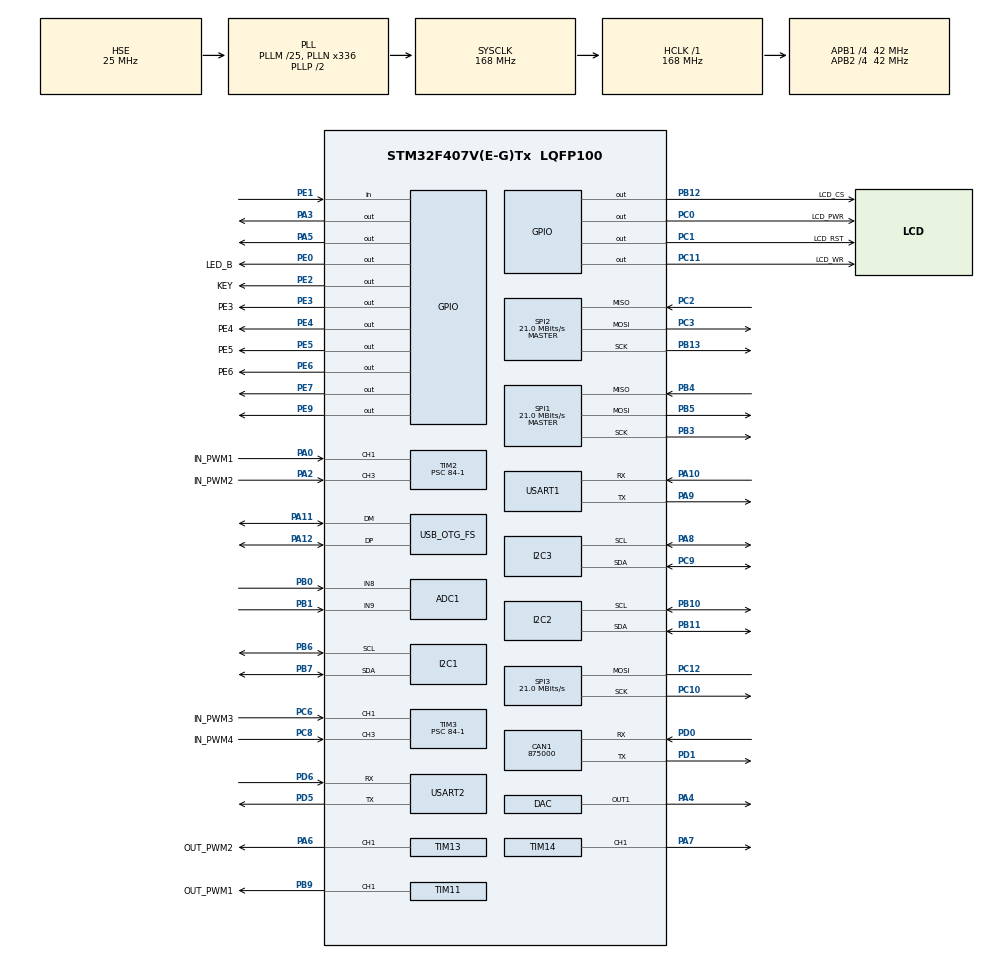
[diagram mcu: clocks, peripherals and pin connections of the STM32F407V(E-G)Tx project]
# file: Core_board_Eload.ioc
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ADC1.Channel-0\#ChannelRegularConversion=ADC_CHANNEL_8
ADC1.Channel-1\#ChannelRegularConversion=ADC_CHANNEL_9
ADC1.ClockPrescaler=ADC_CLOCK_SYNC_PCLK_DIV4
ADC1.ContinuousConvMode=ENABLE
ADC1.DMAContinuousRequests=ENABLE
ADC1.NbrOfConversion=2
ADC1.NbrOfConversionFlag=1
ADC1.Rank-0\#ChannelRegularConversion=1
ADC1.Rank-1\#ChannelRegularConversion=2
ADC1.SamplingTime-0\#ChannelRegularConversion=ADC_SAMPLETIME_56CYCLES
ADC1.SamplingTime-1\#ChannelRegularConversion=ADC_SAMPLETIME_56CYCLES
ADC1.ScanConvMode=ENABLE
ADC1.master=1
CAN1.CalculateBaudRate=875000
CAN1.CalculateTimeBit=1142
CAN1.CalculateTimeQuantum=380.95238095238096
DAC.DAC_Trigger=DAC_TRIGGER_T6_TRGO
DAC.WaveGeneration=DISABLE
Dma.ADC1.0.Direction=DMA_PERIPH_TO_MEMORY
Dma.ADC1.0.FIFOMode=DMA_FIFOMODE_DISABLE
Dma.ADC1.0.Instance=DMA2_Stream0
Dma.ADC1.0.MemDataAlignment=DMA_MDATAALIGN_HALFWORD
Dma.ADC1.0.MemInc=DMA_MINC_ENABLE
Dma.ADC1.0.Mode=DMA_CIRCULAR
Dma.ADC1.0.PeriphDataAlignment=DMA_PDATAALIGN_HALFWORD
Dma.ADC1.0.PeriphInc=DMA_PINC_DISABLE
Dma.ADC1.0.Priority=DMA_PRIORITY_LOW
Dma.DAC1.1.Direction=DMA_MEMORY_TO_PERIPH
Dma.DAC1.1.FIFOMode=DMA_FIFOMODE_DISABLE
Dma.DAC1.1.Instance=DMA1_Stream5
Dma.DAC1.1.MemDataAlignment=DMA_MDATAALIGN_HALFWORD
Dma.DAC1.1.MemInc=DMA_MINC_ENABLE
Dma.DAC1.1.Mode=DMA_CIRCULAR
Dma.DAC1.1.PeriphDataAlignment=DMA_PDATAALIGN_HALFWORD
Dma.DAC1.1.PeriphInc=DMA_PINC_DISABLE
Dma.DAC1.1.Priority=DMA_PRIORITY_LOW
Dma.Request0=ADC1
Dma.Request1=DAC1
Dma.Request2=USART1_RX
Dma.USART1_RX.2.Direction=DMA_PERIPH_TO_MEMORY
Dma.USART1_RX.2.FIFOMode=DMA_FIFOMODE_DISABLE
Dma.USART1_RX.2.Instance=DMA2_Stream2
Dma.USART1_RX.2.MemDataAlignment=DMA_MDATAALIGN_BYTE
Dma.USART1_RX.2.MemInc=DMA_MINC_ENABLE
Dma.USART1_RX.2.Mode=DMA_NORMAL
Dma.USART1_RX.2.PeriphDataAlignment=DMA_PDATAALIGN_BYTE
Dma.USART1_RX.2.PeriphInc=DMA_PINC_DISABLE
Dma.USART1_RX.2.Priority=DMA_PRIORITY_LOW
FREERTOS.Tasks01=OLED,0,512,StartDefaultTask,Default,NULL,Dynamic,NULL,NULL;LED,0,512,LED2_Task,Default,NULL,Dynamic,NULL,NULL;Action,0,1024,Action_Task,Default,NULL,Dynamic,NULL,NULL;Aging,0,1024,Aging_Task,Default,NULL,Dynamic,NULL,NULL;Time,-3,512,Time_Task,Default,NULL,Dynamic,NULL,NULL
FREERTOS.configMINIMAL_STACK_SIZE=128
FREERTOS.configQUEUE_REGISTRY_SIZE=0
Mcu.Family=STM32F4
Mcu.Name=STM32F407V(E-G)Tx
Mcu.Package=LQFP100
NVIC.ADC_IRQn=true\:5\:0\:false\:false\:true\:true\:true\:true\:true
NVIC.CAN1_RX0_IRQn=true\:5\:0\:false\:false\:true\:true\:true\:true\:true
NVIC.CAN1_RX1_IRQn=true\:5\:0\:false\:false\:true\:true\:true\:true\:true
NVIC.CAN1_SCE_IRQn=true\:5\:0\:false\:false\:true\:true\:true\:true\:true
NVIC.CAN1_TX_IRQn=true\:5\:0\:false\:false\:true\:true\:true\:true\:true
NVIC.DMA1_Stream5_IRQn=true\:5\:0\:false\:false\:true\:true\:false\:true\:true
NVIC.DMA2_Stream0_IRQn=true\:5\:0\:false\:false\:true\:true\:false\:true\:true
NVIC.DMA2_Stream2_IRQn=true\:5\:0\:false\:false\:true\:true\:false\:true\:true
NVIC.PriorityGroup=NVIC_PRIORITYGROUP_4
NVIC.TIM1_UP_TIM10_IRQn=true\:15\:0\:false\:false\:true\:false\:false\:true\:true
NVIC.TIM2_IRQn=true\:5\:0\:false\:false\:true\:true\:true\:true\:true
NVIC.TIM3_IRQn=true\:5\:0\:false\:false\:true\:true\:true\:true\:true
NVIC.TimeBase=TIM1_UP_TIM10_IRQn
NVIC.TimeBaseIP=TIM1
NVIC.USART1_IRQn=true\:5\:0\:false\:false\:true\:true\:true\:true\:true
NVIC.USART2_IRQn=true\:5\:0\:false\:false\:true\:true\:true\:true\:true
PA0-WKUP.GPIO_Label=IN_PWM1
PA0-WKUP.Signal=S_TIM2_CH1_ETR
PA10.Mode=Asynchronous
PA10.Signal=USART1_RX
PA11.Mode=Host_Only
PA11.Signal=USB_OTG_FS_DM
PA12.Mode=Host_Only
PA12.Signal=USB_OTG_FS_DP
PA13.Mode=Serial_Wire
PA13.Signal=SYS_JTMS-SWDIO
PA14.Mode=Serial_Wire
PA14.Signal=SYS_JTCK-SWCLK
PA2.GPIO_Label=IN_PWM2
PA2.GPIO_Speed=GPIO_SPEED_FREQ_LOW
PA2.Signal=S_TIM2_CH3
PA3.Signal=GPIO_Output
PA4.Signal=COMP_DAC1_group
PA5.Signal=GPIO_Output
PA6.GPIO_Label=OUT_PWM2
PA6.Signal=S_TIM13_CH1
PA7.Signal=S_TIM14_CH1
PA8.Mode=I2C
PA8.Signal=I2C3_SCL
PA9.Mode=Asynchronous
PA9.Signal=USART1_TX
PB0.Signal=ADCx_IN8
PB1.Signal=ADCx_IN9
PB10.Mode=I2C
PB10.Signal=I2C2_SCL
PB11.Mode=I2C
PB11.Signal=I2C2_SDA
PB12.GPIO_Label=LCD_CS
PB12.Signal=GPIO_Output
PB13.Mode=Full_Duplex_Master
PB13.Signal=SPI2_SCK
PB3.Mode=Full_Duplex_Master
PB3.Signal=SPI1_SCK
PB4.Mode=Full_Duplex_Master
PB4.Signal=SPI1_MISO
PB5.Mode=Full_Duplex_Master
PB5.Signal=SPI1_MOSI
PB6.Mode=I2C
PB6.Signal=I2C1_SCL
PB7.Mode=I2C
PB7.Signal=I2C1_SDA
PB9.GPIO_Label=OUT_PWM1
PB9.Signal=S_TIM11_CH1
PC0.GPIO_Label=LCD_PWR
PC0.GPIO_Speed=GPIO_SPEED_FREQ_HIGH
PC0.Signal=GPIO_Output
PC1.GPIO_Label=LCD_RST
PC1.GPIO_Speed=GPIO_SPEED_FREQ_HIGH
PC1.Signal=GPIO_Output
PC10.Mode=Simplex_Bidirectional_Master
PC10.Signal=SPI3_SCK
PC11.GPIO_Label=LCD_WR
PC11.GPIO_Speed=GPIO_SPEED_FREQ_HIGH
PC11.Signal=GPIO_Output
PC12.Mode=Simplex_Bidirectional_Master
PC12.Signal=SPI3_MOSI
PC14-OSC32_IN.Mode=LSE-External-Oscillator
PC14-OSC32_IN.Signal=RCC_OSC32_IN
PC15-OSC32_OUT.Mode=LSE-External-Oscillator
PC15-OSC32_OUT.Signal=RCC_OSC32_OUT
PC2.Mode=Full_Duplex_Master
PC2.Signal=SPI2_MISO
PC3.Mode=Full_Duplex_Master
PC3.Signal=SPI2_MOSI
PC6.GPIO_Label=IN_PWM3
PC6.Signal=S_TIM3_CH1
PC8.GPIO_Label=IN_PWM4
PC8.Signal=S_TIM3_CH3
PC9.Mode=I2C
PC9.Signal=I2C3_SDA
PD0.Mode=CAN_Activate
PD0.Signal=CAN1_RX
PD1.Mode=CAN_Activate
PD1.Signal=CAN1_TX
PD5.Mode=Asynchronous
PD5.Signal=USART2_TX
PD6.Mode=Asynchronous
PD6.Signal=USART2_RX
PE0.GPIO_Label=LED_B
PE0.Signal=GPIO_Output
PE1.Signal=GPIO_Input
PE2.GPIO_Label=KEY
PE2.Signal=GPIO_Output
PE3.GPIO_Label=PE3
PE3.Signal=GPIO_Output
PE4.GPIO_Label=PE4
PE4.Signal=GPIO_Output
PE5.GPIO_Label=PE5
PE5.Signal=GPIO_Output
PE6.GPIO_Label=PE6
PE6.Signal=GPIO_Output
PE7.Signal=GPIO_Output
PE9.Signal=GPIO_Output
PH0-OSC_IN.Mode=HSE-External-Oscillator
PH0-OSC_IN.Signal=RCC_OSC_IN
PH1-OSC_OUT.Mode=HSE-External-Oscillator
PH1-OSC_OUT.Signal=RCC_OSC_OUT
ProjectManager.HeapSize=0x200
ProjectManager.StackSize=0x400
ProjectManager.TargetToolchain=Makefile
RCC.48MHZClocksFreq_Value=48000000
RCC.AHBFreq_Value=168000000
RCC.APB1CLKDivider=RCC_HCLK_DIV4
RCC.APB1Freq_Value=42000000
RCC.APB1TimFreq_Value=84000000
RCC.APB2CLKDivider=RCC_HCLK_DIV4
RCC.APB2Freq_Value=42000000
RCC.APB2TimFreq_Value=84000000
RCC.CortexFreq_Value=168000000
RCC.HCLKFreq_Value=168000000
RCC.HSE_VALUE=25000000
RCC.HSI_VALUE=16000000
RCC.PLLM=25
RCC.PLLN=336
RCC.PLLQ=7
RCC.RCC_RTC_Clock_Source=RCC_RTCCLKSOURCE_LSE
RCC.RCC_RTC_Clock_SourceVirtual=RCC_RTCCLKSOURCE_LSE
RCC.SYSCLKFreq_VALUE=168000000
RCC.SYSCLKSource=RCC_SYSCLKSOURCE_PLLCLK
RCC.VCOOutputFreq_Value=336000000
RTC.Hours=11
SH.ADCx_IN8.0=ADC1_IN8,IN8
SH.ADCx_IN9.0=ADC1_IN9,IN9
SH.COMP_DAC1_group.0=DAC_OUT1,DAC_OUT1
SH.S_TIM11_CH1.0=TIM11_CH1,PWM Generation1 CH1
SH.S_TIM13_CH1.0=TIM13_CH1,PWM Generation1 CH1
SH.S_TIM14_CH1.0=TIM14_CH1,PWM Generation1 CH1
SH.S_TIM2_CH1_ETR.0=TIM2_CH1,Input_Capture1_from_TI1
SH.S_TIM2_CH3.0=TIM2_CH3,Input_Capture3_from_TI3
SH.S_TIM3_CH1.0=TIM3_CH1,Input_Capture1_from_TI1
SH.S_TIM3_CH3.0=TIM3_CH3,Input_Capture3_from_TI3
SPI1.CalculateBaudRate=21.0 MBits/s
SPI1.Direction=SPI_DIRECTION_2LINES
SPI1.Mode=SPI_MODE_MASTER
SPI1.VirtualType=VM_MASTER
SPI2.CalculateBaudRate=21.0 MBits/s
SPI2.Direction=SPI_DIRECTION_2LINES
SPI2.Mode=SPI_MODE_MASTER
SPI2.VirtualType=VM_MASTER
SPI3.CalculateBaudRate=21.0 MBits/s
SPI3.Direction=SPI_DIRECTION_1LINE
SPI3.Mode=SPI_MODE_MASTER
SPI3.VirtualType=VM_MASTER
TIM11.Channel=TIM_CHANNEL_1
TIM11.Period=1000-1
TIM11.Prescaler=84-1
TIM11.Pulse=500
TIM13.Channel=TIM_CHANNEL_1
TIM13.Period=1000-1
TIM13.Prescaler=84-1
TIM13.Pulse=500
TIM14.Channel=TIM_CHANNEL_1
TIM14.Period=1000-1
TIM14.Prescaler=84-1
TIM14.Pulse=500
TIM2.AutoReloadPreload=TIM_AUTORELOAD_PRELOAD_ENABLE
TIM2.Channel-Input_Capture1_from_TI1=TIM_CHANNEL_1
TIM2.Channel-Input_Capture3_from_TI3=TIM_CHANNEL_3
TIM2.Period=0xffffffff
TIM2.Prescaler=84-1
TIM3.AutoReloadPreload=TIM_AUTORELOAD_PRELOAD_ENABLE
TIM3.Channel-Input_Capture1_from_TI1=TIM_CHANNEL_1
TIM3.Channel-Input_Capture3_from_TI3=TIM_CHANNEL_3
TIM3.Prescaler=84-1
USART1.VirtualMode=VM_ASYNC
USART2.VirtualMode=VM_ASYNC
USB_OTG_FS.VirtualMode=Host_Only
USB_OTG_FS.phy_itface=HCD_PHY_EMBEDDED
VP_FREERTOS_VS_CMSIS_V1.Mode=CMSIS_V1
VP_RTC_VS_RTC_Activate.Mode=RTC_Enabled
VP_RTC_VS_RTC_Calendar.Mode=RTC_Calendar
VP_SYS_VS_tim1.Mode=TIM1
VP_TIM11_VS_ClockSourceINT.Mode=Enable_Timer
VP_TIM13_VS_ClockSourceINT.Mode=Enable_Timer
VP_TIM14_VS_ClockSourceINT.Mode=Enable_Timer
VP_TIM2_VS_ClockSourceINT.Mode=Internal
VP_TIM3_VS_ClockSourceINT.Mode=Internal
board=custom

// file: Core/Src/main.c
/* USER CODE BEGIN Header */
/**
  ******************************************************************************
  * @file           : main.c
  * @brief          : Main program body
  ******************************************************************************
  * @attention
  *
  * Copyright (c) 2023 STMicroelectronics.
  * All rights reserved.
  *
  * This software is licensed under terms that can be found in the LICENSE file
  * in the root directory of this software component.
  * If no LICENSE file comes with this software, it is provided AS-IS.
  *
  ******************************************************************************
  */
/* USER CODE END Header */
#include "main.h"
#include "cmsis_os.h"
#include "adc.h"
#include "can.h"
#include "dac.h"
#include "dma.h"
#include "i2c.h"
#include "rtc.h"
#include "spi.h"
#include "tim.h"
#include "usart.h"
#include "usb_otg.h"
#include "gpio.h"

/* USER CODE BEGIN Includes */
#include "app_includes.h"
/* USER CODE END Includes */

void SystemClock_Config(void);
void MX_FREERTOS_Init(void);

int main(void)
{

  /* MCU Configuration--------------------------------------------------------*/

  /* Reset of all peripherals, Initializes the Flash interface and the Systick. */
  HAL_Init();

  /* Configure the system clock */
  SystemClock_Config();

  /* Initialize all configured peripherals */
  MX_GPIO_Init();
  MX_DMA_Init();
  MX_ADC1_Init();
  MX_DAC_Init();
  MX_CAN1_Init();
  MX_I2C1_Init();
  MX_I2C2_Init();
  MX_I2C3_Init();
  MX_RTC_Init();
  MX_SPI1_Init();
  MX_SPI2_Init();
  MX_SPI3_Init();
  MX_TIM11_Init();
  MX_TIM13_Init();
  MX_TIM14_Init();
  MX_TIM2_Init();
  MX_TIM3_Init();
  MX_USART1_UART_Init();
  MX_USART2_UART_Init();
  MX_USB_OTG_FS_HCD_Init();
  /* USER CODE BEGIN 2 */
  LCD_Init();
  // cat9555_config(1,0x40,0x00,0x00);
  /* USER CODE END 2 */
  DVM_config();

  /* Call init function for freertos objects (in freertos.c) */
  MX_FREERTOS_Init();

  /* Start scheduler */
  osKernelStart();

  /* We should never get here as control is now taken by the scheduler */
  /* Infinite loop */
  while (1)
  {

  }
}

void SystemClock_Config(void)
{
  RCC_OscInitTypeDef RCC_OscInitStruct = {0};
  RCC_ClkInitTypeDef RCC_ClkInitStruct = {0};

  /** Configure the main internal regulator output voltage
  */
  __HAL_RCC_PWR_CLK_ENABLE();
  __HAL_PWR_VOLTAGESCALING_CONFIG(PWR_REGULATOR_VOLTAGE_SCALE1);

  /** Initializes the RCC Oscillators according to the specified parameters
  * in the RCC_OscInitTypeDef structure.
  */
  RCC_OscInitStruct.OscillatorType = RCC_OSCILLATORTYPE_HSE|RCC_OSCILLATORTYPE_LSE;
  RCC_OscInitStruct.HSEState = RCC_HSE_ON;
  RCC_OscInitStruct.LSEState = RCC_LSE_ON;
  RCC_OscInitStruct.PLL.PLLState = RCC_PLL_ON;
  RCC_OscInitStruct.PLL.PLLSource = RCC_PLLSOURCE_HSE;
  RCC_OscInitStruct.PLL.PLLM = 25;
  RCC_OscInitStruct.PLL.PLLN = 336;
  RCC_OscInitStruct.PLL.PLLP = RCC_PLLP_DIV2;
  RCC_OscInitStruct.PLL.PLLQ = 7;
  if (HAL_RCC_OscConfig(&RCC_OscInitStruct) != HAL_OK)
  {
    Error_Handler();
  }

  /** Initializes the CPU, AHB and APB buses clocks
  */
  RCC_ClkInitStruct.ClockType = RCC_CLOCKTYPE_HCLK|RCC_CLOCKTYPE_SYSCLK
                              |RCC_CLOCKTYPE_PCLK1|RCC_CLOCKTYPE_PCLK2;
  RCC_ClkInitStruct.SYSCLKSource = RCC_SYSCLKSOURCE_PLLCLK;
  RCC_ClkInitStruct.AHBCLKDivider = RCC_SYSCLK_DIV1;
  RCC_ClkInitStruct.APB1CLKDivider = RCC_HCLK_DIV4;
  RCC_ClkInitStruct.APB2CLKDivider = RCC_HCLK_DIV4;

  if (HAL_RCC_ClockConfig(&RCC_ClkInitStruct, FLASH_LATENCY_5) != HAL_OK)
  {
    Error_Handler();
  }
}

void HAL_TIM_PeriodElapsedCallback(TIM_HandleTypeDef *htim)
{
  if (htim->Instance == TIM1) {
    HAL_IncTick();
  }
}

void Error_Handler(void)
{
  __disable_irq();
  while (1)
  {
  }
}

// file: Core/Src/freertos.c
/* USER CODE BEGIN Header */
/**
  ******************************************************************************
  * File Name          : freertos.c
  * Description        : Code for freertos applications
  ******************************************************************************
  * @attention
  *
  * Copyright (c) 2023 STMicroelectronics.
  * All rights reserved.
  *
  * This software is licensed under terms that can be found in the LICENSE file
  * in the root directory of this software component.
  * If no LICENSE file comes with this software, it is provided AS-IS.
  *
  ******************************************************************************
  */
/* USER CODE END Header */

#include "FreeRTOS.h"
#include "task.h"
#include "main.h"
#include "cmsis_os.h"

/* USER CODE BEGIN Includes */
#include "app_includes.h"
#include "reent.h"
/* USER CODE END Includes */

/* USER CODE BEGIN PTD */
// extern uint8_t buffer_rx[255];

/* USER CODE END PTD */

/* USER CODE BEGIN PD */
/* All configuration moved to config.h and config.c */
/* USER CODE END PD */

osThreadId OLEDHandle;
osThreadId DisplayHandle;
osThreadId KeyProcessHandle;
osThreadId DataAcquisitionHandle;
osThreadId MonitorHandle;

/* USER CODE BEGIN FunctionPrototypes */
/* All business logic functions moved to app_tasks.c */
/* USER CODE END FunctionPrototypes */

void StartDefaultTask(void const * argument);
void Display_Task(void const * argument);
void KeyProcess_Task(void const * argument);
void DataAcquisition_Task(void const * argument);
void Monitor_Task(void const * argument);

void MX_FREERTOS_Init(void); /* (MISRA C 2004 rule 8.1) */

/* GetIdleTaskMemory prototype (linked to static allocation support) */
void vApplicationGetIdleTaskMemory( StaticTask_t **ppxIdleTaskTCBBuffer, StackType_t **ppxIdleTaskStackBuffer, uint32_t *pulIdleTaskStackSize );

/* USER CODE BEGIN GET_IDLE_TASK_MEMORY */
static StaticTask_t xIdleTaskTCBBuffer;
static StackType_t xIdleStack[configMINIMAL_STACK_SIZE];

void vApplicationGetIdleTaskMemory( StaticTask_t **ppxIdleTaskTCBBuffer, StackType_t **ppxIdleTaskStackBuffer, uint32_t *pulIdleTaskStackSize )
{
  *ppxIdleTaskTCBBuffer = &xIdleTaskTCBBuffer;
  *ppxIdleTaskStackBuffer = &xIdleStack[0];
  *pulIdleTaskStackSize = configMINIMAL_STACK_SIZE;
  /* place for user code */
}
/* USER CODE END GET_IDLE_TASK_MEMORY */

void MX_FREERTOS_Init(void) {
  /* USER CODE BEGIN Init */
  /* Initialize configuration and logging systems */
  Config_Init();
  Logger_Init(LOG_LEVEL_INFO);
  DeviceManager_Init();
  Tasks_Initialize();

  /* Initialize ADC with DMA for data acquisition */
  adc_config();

  LOG_INFO(LOG_MOD_TASK, "FreeRTOS initialization started");

  /* USER CODE END Init */

  /* Create the thread(s) */
  /* definition and creation of OLED - 命令解析与电流控制 */
  osThreadDef(OLED, StartDefaultTask, osPriorityNormal, 1, CFG_TASK_OLED_STACK_SIZE);
  OLEDHandle = osThreadCreate(osThread(OLED), NULL);

  /* definition and creation of Display - LCD显示更新 */
  osThreadDef(Display, Display_Task, osPriorityNormal, 2, CFG_TASK_DISPLAY_STACK_SIZE);
  DisplayHandle = osThreadCreate(osThread(Display), NULL);

  /* definition and creation of KeyProcess - 按键处理 */
  osThreadDef(KeyProcess, KeyProcess_Task, osPriorityNormal, 3, CFG_TASK_KEYPROCESS_STACK_SIZE);
  KeyProcessHandle = osThreadCreate(osThread(KeyProcess), NULL);

  /* definition and creation of DataAcquisition - 数据采集 */
  osThreadDef(DataAcquisition, DataAcquisition_Task, osPriorityNormal, 0, CFG_TASK_DATAACQ_STACK_SIZE);
  DataAcquisitionHandle = osThreadCreate(osThread(DataAcquisition), NULL);

  /* definition and creation of Monitor - 温度监控与安全保护 */
  osThreadDef(Monitor, Monitor_Task, osPriorityIdle, 0, CFG_TASK_MONITOR_STACK_SIZE);
  MonitorHandle = osThreadCreate(osThread(Monitor), NULL);

  LOG_INFO(LOG_MOD_TASK, "All tasks created successfully");

}

/* USER CODE BEGIN HelperFunctions */
/* All business logic functions moved to app_tasks.c */
/* Use Task_* functions instead */
/* USER CODE END HelperFunctions */

/* ============================= Task Implementations ========================== */

/* USER CODE BEGIN Header_StartDefaultTask */
/**
  * @brief  Function implementing the OLED thread - 命令解析与电流控制
  * @param  argument: Not used
  * @retval None
  */
/* USER CODE END Header_StartDefaultTask */
void StartDefaultTask(void const * argument)
{
  /* USER CODE BEGIN StartDefaultTask */
  LOG_INFO(LOG_MOD_TASK, "OLED Control task started");

  /* Infinite loop */
  for(;;)
  {
    /* Call business logic from app_tasks.c */
    Task_OLEDControl(argument);

    osDelay(100);
  }
  /* USER CODE END StartDefaultTask */
}

/* USER CODE BEGIN Header_Display_Task */
/**
* @brief Function implementing the Display thread - LCD显示更新
* @param argument: Not used
* @retval None
*/
/* USER CODE END Header_Display_Task */
void Display_Task(void const * argument)
{
  /* USER CODE BEGIN Display_Task */
  LOG_INFO(LOG_MOD_TASK, "Display task started");

  /* Infinite loop */
  for(;;)
  {
    /* Call business logic from app_tasks.c */
    Task_DisplayUpdate(argument);

    /* Toggle LED indicator */
    HAL_GPIO_TogglePin(GPIOE, LED_B_Pin);

    osDelay(CFG_DISPLAY_REFRESH_INTERVAL);
  }
  /* USER CODE END Display_Task */
}

/* USER CODE BEGIN Header_KeyProcess_Task */
/**
* @brief Function implementing the KeyProcess thread - 按键检测与处理
* @param argument: Not used
* @retval None
*/
/* USER CODE END Header_KeyProcess_Task */
void KeyProcess_Task(void const * argument)
{
  /* USER CODE BEGIN KeyProcess_Task */
  LOG_INFO(LOG_MOD_TASK, "Keypad task started");

  /* Infinite loop */
  for(;;)
  {
    /* Call business logic from app_tasks.c - handles all debouncing internally */
    Task_KeypadProcess(argument);

    osDelay(50);
  }
  /* USER CODE END KeyProcess_Task */
}

/* USER CODE BEGIN Header_DataAcquisition_Task */
/**
* @brief Function implementing the DataAcquisition thread - 数据采集
* @param argument: Not used
* @retval None
*/
/* USER CODE END Header_DataAcquisition_Task */
void DataAcquisition_Task(void const * argument)
{
  /* USER CODE BEGIN DataAcquisition_Task */
  LOG_INFO(LOG_MOD_TASK, "Data acquisition task started");

  /* Infinite loop */
  for(;;)
  {
    /* Call business logic from app_tasks.c - reads ADC and updates g_voltage/g_current */
    Task_DataAcquisition(argument);

    osDelay(100);
  }
  /* USER CODE END DataAcquisition_Task */
}

/* USER CODE BEGIN Header_Monitor_Task */
/**
* @brief Function implementing the Monitor thread - 温度监控与安全保护
* @param argument: Not used
* @retval None
*/
/* USER CODE END Header_Monitor_Task */
void Monitor_Task(void const * argument)
{
  /* USER CODE BEGIN Monitor_Task */
  LOG_INFO(LOG_MOD_TASK, "Monitor/Protection task started");

  /* Infinite loop */
  for(;;)
  {
    /* Call business logic from app_tasks.c */
    // Task_MonitorProtection(argument);

    osDelay(CFG_TEMP_SAMPLE_INTERVAL_MS);
  }
  /* USER CODE END Monitor_Task */
}
